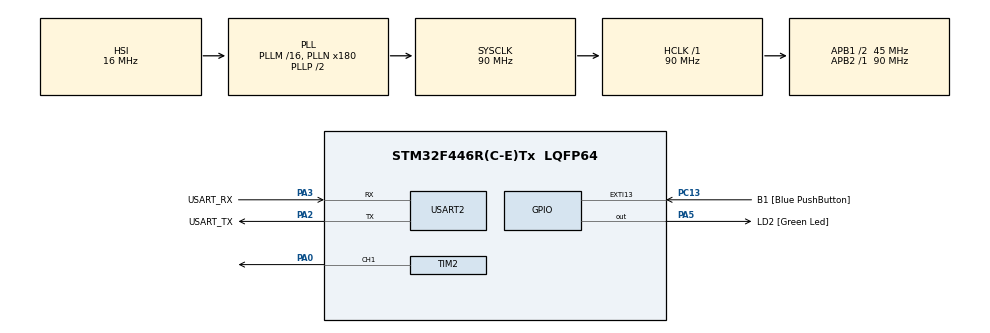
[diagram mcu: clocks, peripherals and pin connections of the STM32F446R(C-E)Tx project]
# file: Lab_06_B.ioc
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Mcu.Family=STM32F4
Mcu.Name=STM32F446R(C-E)Tx
Mcu.Package=LQFP64
NVIC.PriorityGroup=NVIC_PRIORITYGROUP_0
PA0-WKUP.Signal=S_TIM2_CH1_ETR
PA13.GPIO_Label=TMS
PA13.Mode=Serial_Wire
PA13.Signal=SYS_JTMS-SWDIO
PA14.GPIO_Label=TCK
PA14.Mode=Serial_Wire
PA14.Signal=SYS_JTCK-SWCLK
PA2.GPIO_Label=USART_TX
PA2.Mode=Asynchronous
PA2.Signal=USART2_TX
PA3.GPIO_Label=USART_RX
PA3.Mode=Asynchronous
PA3.Signal=USART2_RX
PA5.GPIO_Label=LD2 [Green Led]
PA5.Signal=GPIO_Output
PB3.GPIO_Label=SWO
PB3.Signal=SYS_JTDO-SWO
PC13.GPIO_Label=B1 [Blue PushButton]
PC13.GPIO_ModeDefaultEXTI=GPIO_MODE_IT_FALLING
PC13.Signal=GPXTI13
PC14-OSC32_IN.Mode=LSE-External-Oscillator
PC14-OSC32_IN.Signal=RCC_OSC32_IN
PC15-OSC32_OUT.Mode=LSE-External-Oscillator
PC15-OSC32_OUT.Signal=RCC_OSC32_OUT
PH0-OSC_IN.Mode=HSE-External-Oscillator
PH0-OSC_IN.Signal=RCC_OSC_IN
PH1-OSC_OUT.Mode=HSE-External-Oscillator
PH1-OSC_OUT.Signal=RCC_OSC_OUT
ProjectManager.HeapSize=0x200
ProjectManager.StackSize=0x400
ProjectManager.TargetToolchain=STM32CubeIDE
RCC.48MHZClocksFreq_Value=84000000
RCC.AHBFreq_Value=90000000
RCC.APB1CLKDivider=RCC_HCLK_DIV2
RCC.APB1Freq_Value=45000000
RCC.APB1TimFreq_Value=90000000
RCC.APB2Freq_Value=90000000
RCC.APB2TimFreq_Value=90000000
RCC.CortexFreq_Value=90000000
RCC.FLatency-AdvancedSettings=FLASH_LATENCY_2
RCC.HCLKFreq_Value=90000000
RCC.HSE_VALUE=8000000
RCC.HSI_VALUE=16000000
RCC.PLLN=180
RCC.SYSCLKFreq_VALUE=90000000
RCC.SYSCLKSource=RCC_SYSCLKSOURCE_PLLCLK
RCC.USBFreq_Value=90000000
RCC.VCOOutputFreq_Value=180000000
SH.S_TIM2_CH1_ETR.0=TIM2_CH1,PWM Generation1 CH1
TIM2.AutoReloadPreload=TIM_AUTORELOAD_PRELOAD_ENABLE
TIM2.Channel-PWM\ Generation1\ CH1=TIM_CHANNEL_1
TIM2.Period=59999
TIM2.Prescaler=29
TIM6.AutoReloadPreload=TIM_AUTORELOAD_PRELOAD_ENABLE
TIM6.Prescaler=89
USART2.VirtualMode=VM_ASYNC
VP_TIM6_VS_ClockSourceINT.Mode=Enable_Timer
board=NUCLEO-F446RE

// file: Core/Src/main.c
/* USER CODE BEGIN Header */
/**
  ******************************************************************************
  * @file           : main.c
  * @brief          : Main program body
  ******************************************************************************
  * @attention
  *
  * Copyright (c) 2026 STMicroelectronics.
  * All rights reserved.
  *
  * This software is licensed under terms that can be found in the LICENSE file
  * in the root directory of this software component.
  * If no LICENSE file comes with this software, it is provided AS-IS.
  *
  ******************************************************************************
  */
/* USER CODE END Header */
#include "main.h"

/* USER CODE BEGIN Includes */
#include <stdio.h>
#include <string.h>
/* USER CODE END Includes */

TIM_HandleTypeDef htim2;
TIM_HandleTypeDef htim6;

UART_HandleTypeDef huart2;

/* USER CODE BEGIN PV */
char msg[64];
/* USER CODE END PV */

void SystemClock_Config(void);
static void MX_GPIO_Init(void);
static void MX_TIM2_Init(void);
static void MX_TIM6_Init(void);
static void MX_USART2_UART_Init(void);

/* USER CODE BEGIN 0 */

void delay_us(uint32_t us)
{
    __HAL_TIM_SET_COUNTER(&htim6, 0);
    while (__HAL_TIM_GET_COUNTER(&htim6) < us);
}

void delay_ms(uint32_t ms)
{
    for (uint32_t i = 0; i < ms; i++) delay_us(1000);
}

void uart_print(const char *str)
{
    HAL_UART_Transmit(&huart2, (uint8_t*)str, strlen(str), HAL_MAX_DELAY);
}

/* Algorithm A6.B — angle to CCR
 * t[us] = 1000 + (theta/180) * 1000
 * CCR   = t * 3   (f_timer = 3 MHz, tick = 0.333 us)
 */
void Servo_SetAngle(uint8_t theta)
{
    if (theta > 180) theta = 180;
    double t_us = 1000.0 + ((double)theta / 180.0) * 1000.0;
    uint32_t ccr = (uint32_t)(t_us * 3.0);
    __HAL_TIM_SET_COMPARE(&htim2, TIM_CHANNEL_1, ccr);
}

/* USER CODE END 0 */
int main(void)
{

  /* MCU Configuration--------------------------------------------------------*/

  /* Reset of all peripherals, Initializes the Flash interface and the Systick. */
  HAL_Init();

  /* Configure the system clock */
  SystemClock_Config();

  /* Initialize all configured peripherals */
  MX_GPIO_Init();
  MX_TIM2_Init();
  MX_TIM6_Init();
  MX_USART2_UART_Init();
  /* USER CODE BEGIN 2 */

  HAL_TIM_Base_Start(&htim6);
  HAL_TIM_PWM_Start(&htim2, TIM_CHANNEL_1);

  /* Servo centre on startup */
  Servo_SetAngle(90);
  delay_ms(500);

  /* Sweep 0° to 180° in 10° steps */
  uart_print("Target Angle   Pulse Width(us)   CCR Value\r\n");
  uart_print("------------------------------------------\r\n");

  for (int i = 0; i <= 180; i += 10)
  {
      double t_us = 1000.0 + ((double)i / 180.0) * 1000.0;
      uint32_t ccr = (uint32_t)(t_us * 3.0);

      __HAL_TIM_SET_COMPARE(&htim2, TIM_CHANNEL_1, ccr);

      /* Integer formatting — avoids needing -u_printf_float linker flag */
      uint32_t t_int  = (uint32_t)t_us;
      uint32_t t_frac = (uint32_t)((t_us - t_int) * 10);

      sprintf(msg, "%3d deg        %lu.%lu us          %lu\r\n",
              i, t_int, t_frac, ccr);
      uart_print(msg);

      delay_ms(500);
  }

  uart_print("\r\n=== Sweep Complete ===\r\n");

  /* USER CODE END 2 */
  /* Infinite loop */
  while (1)
  {

  }
}

void SystemClock_Config(void)
{
  RCC_OscInitTypeDef RCC_OscInitStruct = {0};
  RCC_ClkInitTypeDef RCC_ClkInitStruct = {0};

  /** Configure the main internal regulator output voltage
  */
  __HAL_RCC_PWR_CLK_ENABLE();
  __HAL_PWR_VOLTAGESCALING_CONFIG(PWR_REGULATOR_VOLTAGE_SCALE1);

  /** Initializes the RCC Oscillators according to the specified parameters
  * in the RCC_OscInitTypeDef structure.
  */
  RCC_OscInitStruct.OscillatorType = RCC_OSCILLATORTYPE_HSI;
  RCC_OscInitStruct.HSIState = RCC_HSI_ON;
  RCC_OscInitStruct.HSICalibrationValue = RCC_HSICALIBRATION_DEFAULT;
  RCC_OscInitStruct.PLL.PLLState = RCC_PLL_ON;
  RCC_OscInitStruct.PLL.PLLSource = RCC_PLLSOURCE_HSI;
  RCC_OscInitStruct.PLL.PLLM = 16;
  RCC_OscInitStruct.PLL.PLLN = 180;
  RCC_OscInitStruct.PLL.PLLP = RCC_PLLP_DIV2;
  RCC_OscInitStruct.PLL.PLLQ = 2;
  RCC_OscInitStruct.PLL.PLLR = 2;
  if (HAL_RCC_OscConfig(&RCC_OscInitStruct) != HAL_OK)
  {
    Error_Handler();
  }

  /** Initializes the CPU, AHB and APB buses clocks
  */
  RCC_ClkInitStruct.ClockType = RCC_CLOCKTYPE_HCLK|RCC_CLOCKTYPE_SYSCLK
                              |RCC_CLOCKTYPE_PCLK1|RCC_CLOCKTYPE_PCLK2;
  RCC_ClkInitStruct.SYSCLKSource = RCC_SYSCLKSOURCE_PLLCLK;
  RCC_ClkInitStruct.AHBCLKDivider = RCC_SYSCLK_DIV1;
  RCC_ClkInitStruct.APB1CLKDivider = RCC_HCLK_DIV2;
  RCC_ClkInitStruct.APB2CLKDivider = RCC_HCLK_DIV1;

  if (HAL_RCC_ClockConfig(&RCC_ClkInitStruct, FLASH_LATENCY_2) != HAL_OK)
  {
    Error_Handler();
  }
}

static void MX_TIM2_Init(void)
{

  TIM_MasterConfigTypeDef sMasterConfig = {0};
  TIM_OC_InitTypeDef sConfigOC = {0};

  htim2.Instance = TIM2;
  htim2.Init.Prescaler = 29;
  htim2.Init.CounterMode = TIM_COUNTERMODE_UP;
  htim2.Init.Period = 59999;
  htim2.Init.ClockDivision = TIM_CLOCKDIVISION_DIV1;
  htim2.Init.AutoReloadPreload = TIM_AUTORELOAD_PRELOAD_ENABLE;
  if (HAL_TIM_PWM_Init(&htim2) != HAL_OK)
  {
    Error_Handler();
  }
  sMasterConfig.MasterOutputTrigger = TIM_TRGO_RESET;
  sMasterConfig.MasterSlaveMode = TIM_MASTERSLAVEMODE_DISABLE;
  if (HAL_TIMEx_MasterConfigSynchronization(&htim2, &sMasterConfig) != HAL_OK)
  {
    Error_Handler();
  }
  sConfigOC.OCMode = TIM_OCMODE_PWM1;
  sConfigOC.Pulse = 0;
  sConfigOC.OCPolarity = TIM_OCPOLARITY_HIGH;
  sConfigOC.OCFastMode = TIM_OCFAST_DISABLE;
  if (HAL_TIM_PWM_ConfigChannel(&htim2, &sConfigOC, TIM_CHANNEL_1) != HAL_OK)
  {
    Error_Handler();
  }
  HAL_TIM_MspPostInit(&htim2);

}

static void MX_TIM6_Init(void)
{

  TIM_MasterConfigTypeDef sMasterConfig = {0};

  htim6.Instance = TIM6;
  htim6.Init.Prescaler = 89;
  htim6.Init.CounterMode = TIM_COUNTERMODE_UP;
  htim6.Init.Period = 65535;
  htim6.Init.AutoReloadPreload = TIM_AUTORELOAD_PRELOAD_ENABLE;
  if (HAL_TIM_Base_Init(&htim6) != HAL_OK)
  {
    Error_Handler();
  }
  sMasterConfig.MasterOutputTrigger = TIM_TRGO_RESET;
  sMasterConfig.MasterSlaveMode = TIM_MASTERSLAVEMODE_DISABLE;
  if (HAL_TIMEx_MasterConfigSynchronization(&htim6, &sMasterConfig) != HAL_OK)
  {
    Error_Handler();
  }

}

static void MX_USART2_UART_Init(void)
{

  huart2.Instance = USART2;
  huart2.Init.BaudRate = 115200;
  huart2.Init.WordLength = UART_WORDLENGTH_8B;
  huart2.Init.StopBits = UART_STOPBITS_1;
  huart2.Init.Parity = UART_PARITY_NONE;
  huart2.Init.Mode = UART_MODE_TX_RX;
  huart2.Init.HwFlowCtl = UART_HWCONTROL_NONE;
  huart2.Init.OverSampling = UART_OVERSAMPLING_16;
  if (HAL_UART_Init(&huart2) != HAL_OK)
  {
    Error_Handler();
  }

}

static void MX_GPIO_Init(void)
{
  GPIO_InitTypeDef GPIO_InitStruct = {0};

  /* GPIO Ports Clock Enable */
  __HAL_RCC_GPIOC_CLK_ENABLE();
  __HAL_RCC_GPIOH_CLK_ENABLE();
  __HAL_RCC_GPIOA_CLK_ENABLE();
  __HAL_RCC_GPIOB_CLK_ENABLE();

  /*Configure GPIO pin Output Level */
  HAL_GPIO_WritePin(LD2_GPIO_Port, LD2_Pin, GPIO_PIN_RESET);

  /*Configure GPIO pin : B1_Pin */
  GPIO_InitStruct.Pin = B1_Pin;
  GPIO_InitStruct.Mode = GPIO_MODE_IT_FALLING;
  GPIO_InitStruct.Pull = GPIO_NOPULL;
  HAL_GPIO_Init(B1_GPIO_Port, &GPIO_InitStruct);

  /*Configure GPIO pin : LD2_Pin */
  GPIO_InitStruct.Pin = LD2_Pin;
  GPIO_InitStruct.Mode = GPIO_MODE_OUTPUT_PP;
  GPIO_InitStruct.Pull = GPIO_NOPULL;
  GPIO_InitStruct.Speed = GPIO_SPEED_FREQ_LOW;
  HAL_GPIO_Init(LD2_GPIO_Port, &GPIO_InitStruct);

}

void Error_Handler(void)
{
  __disable_irq();
  while (1)
  {
  }
}
